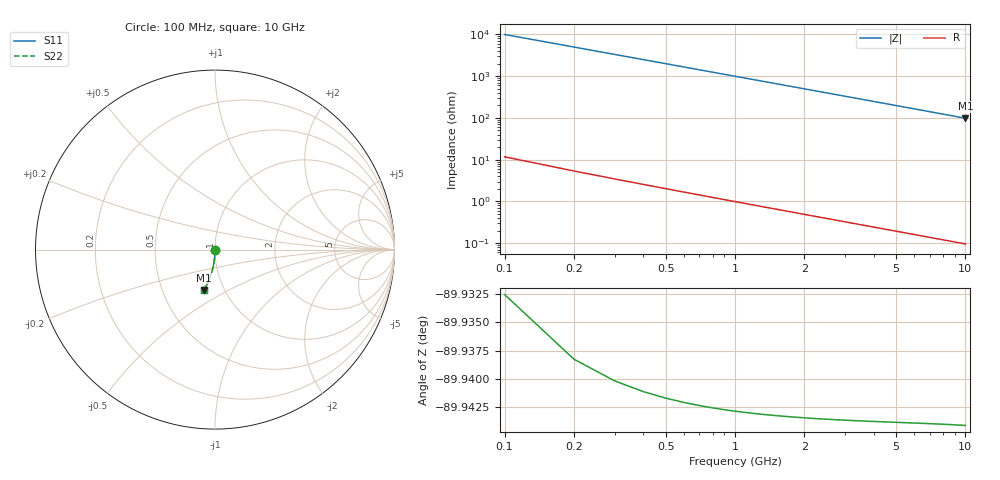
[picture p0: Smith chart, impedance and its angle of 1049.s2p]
# Hz S RI R 50.00
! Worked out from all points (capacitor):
!   100 points, 100 MHz to 10 GHz, reference 50 ohm
!   read as one part in shunt: C = 160 fF near 100 MHz
!   lowest |Z| = 98.4 ohm at 10 GHz (marker M1)
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1e8  2.32e-05 -0.00237  1 -0.00266  1 -0.00266  2.32e-05 -0.00237
2e8  2.08e-06 -0.00474  0.9999 -0.00532  0.9999 -0.00532  2.08e-06 -0.00474
3e8  -3.17e-05 -0.0071  0.9999 -0.00798  0.9999 -0.00798  -3.17e-05 -0.0071
4e8  -7.81e-05 -0.00947  0.9999 -0.0106  0.9999 -0.0106  -7.81e-05 -0.00947
5e8  -0.000137 -0.0118  0.9998 -0.0133  0.9998 -0.0133  -0.000137 -0.0118
6e8  -0.000209 -0.0142  0.9997 -0.016  0.9997 -0.016  -0.000209 -0.0142
7e8  -0.000293 -0.0166  0.9996 -0.0186  0.9996 -0.0186  -0.000293 -0.0166
8e8  -0.00039 -0.0189  0.9995 -0.0213  0.9995 -0.0213  -0.00039 -0.0189
9e8  -0.0005 -0.0213  0.9994 -0.0239  0.9994 -0.0239  -0.0005 -0.0213
1.1e9  -0.000757 -0.026  0.9992 -0.0293  0.9992 -0.0293  -0.000757 -0.026
1.4e9  -0.00124 -0.0331  0.9987 -0.0372  0.9987 -0.0372  -0.00124 -0.0331
1.8e9  -0.00205 -0.0426  0.9979 -0.0479  0.9979 -0.0479  -0.00205 -0.0426
2.1e9  -0.0028 -0.0497  0.9971 -0.0558  0.9971 -0.0558  -0.0028 -0.0497
2.5e9  -0.00397 -0.0591  0.9959 -0.0664  0.9959 -0.0664  -0.00397 -0.0591
2.9e9  -0.00534 -0.0685  0.9946 -0.077  0.9946 -0.077  -0.00534 -0.0685
3.4e9  -0.00733 -0.0802  0.9925 -0.0902  0.9925 -0.0902  -0.00733 -0.0802
4.2e9  -0.0112 -0.0988  0.9887 -0.1111  0.9887 -0.1111  -0.0112 -0.0988
5.1e9  -0.0164 -0.1194  0.9834 -0.1345  0.9834 -0.1345  -0.0164 -0.1194
5.9e9  -0.0219 -0.1375  0.9779 -0.1549  0.9779 -0.1549  -0.0219 -0.1375
6.7e9  -0.0281 -0.1553  0.9716 -0.1751  0.9716 -0.1751  -0.0281 -0.1553
8.4e9  -0.0437 -0.1918  0.9559 -0.2168  0.9559 -0.2168  -0.0437 -0.1918
1e10  -0.061 -0.2243  0.9385 -0.2542  0.9385 -0.2542  -0.061 -0.2243
